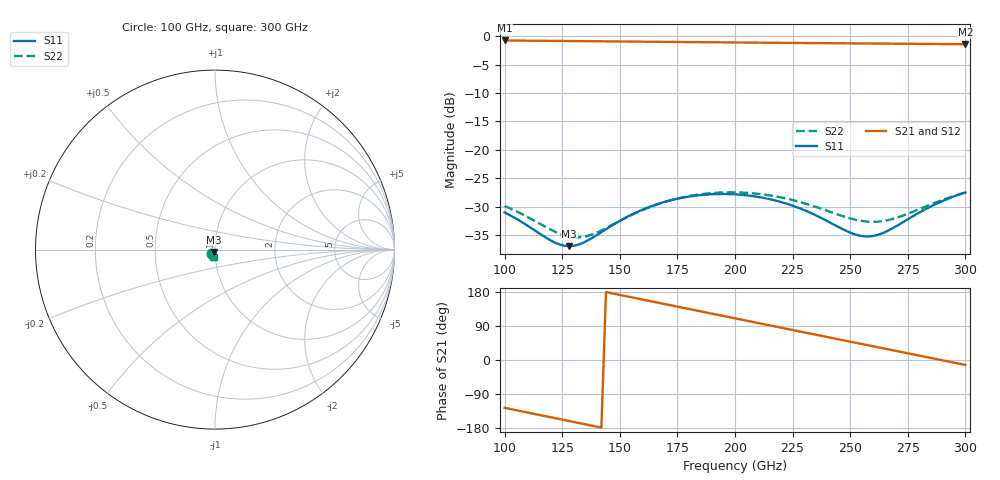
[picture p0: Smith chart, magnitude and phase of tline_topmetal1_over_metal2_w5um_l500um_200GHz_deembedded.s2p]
! Created with skrf 2.2.0 (http://scikit-rf.org).
# GHz S DB R 50.0
! Port[1] = P1
! Port[2] = P2
!freq dBS11 angS11 dBS21 angS21 dBS12 angS12 dBS22 angS22
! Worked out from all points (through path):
!   101 points, 100 GHz to 300 GHz, reference 50 ohm
!   highest |S21| = -0.76 dB at 100 GHz (marker M1); lowest = -1.4 dB at 300 GHz (marker M2)
!   group delay of S21, straight-line fit = 3.43 ps
!   lowest |S11| = -36.9 dB at 128 GHz (marker M3), VSWR 1.03, Z = 49.4 - j1.31 ohm
!   |S11| at or under -10 dB: start of sweep to end of sweep
!   |S22| runs from -35.4 to -27.5 dB; largest |S21 - S12| = 1.5e-14
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100  -30.98 -134.4  -0.76 -126.3  -0.76 -126.3  -29.85 -133.4
114  -34.38 -135.5  -0.81 -143.7  -0.81 -143.7  -32.68 -136.7
122  -36.31 -125.5  -0.84 -153.6  -0.84 -153.6  -34.39 -130.9
128  -36.91 -112.3  -0.86 -161.0  -0.86 -161.0  -35.24 -121.9
134  -36.33 -99.1  -0.88 -168.5  -0.88 -168.5  -35.29 -110.7
140  -34.96 -90.4  -0.90 -175.9  -0.90 -175.9  -34.53 -101.2
150  -32.46 -86.4  -0.94 171.7  -0.94 171.7  -32.47 -93.7
158  -30.82 -88.8  -0.97 161.8  -0.97 161.8  -30.89 -93.8
168  -29.31 -95.1  -1.00 149.5  -1.00 149.5  -29.33 -98.0
184  -27.98 -108.4  -1.06 129.7  -1.06 129.7  -27.85 -109.0
200  -27.81 -122.4  -1.11 110.0  -1.11 110.0  -27.46 -121.2
208  -28.13 -128.9  -1.14 100.1  -1.14 100.1  -27.63 -127.0
216  -28.74 -134.8  -1.17 90.3  -1.17 90.3  -28.05 -132.1
224  -29.66 -139.4  -1.19 80.4  -1.19 80.4  -28.71 -136.1
234  -31.29 -142.2  -1.22 68.1  -1.22 68.1  -29.87 -138.7
244  -33.35 -138.5  -1.25 55.8  -1.25 55.8  -31.26 -136.7
254  -35.06 -123.9  -1.28 43.5  -1.28 43.5  -32.41 -128.4
260  -35.12 -111.0  -1.30 36.1  -1.30 36.1  -32.64 -120.8
268  -33.85 -96.6  -1.33 26.3  -1.33 26.3  -32.17 -110.7
284  -30.14 -88.6  -1.37 6.6  -1.37 6.6  -29.74 -101.1
292  -28.64 -91.0  -1.40 -3.2  -1.40 -3.2  -28.51 -101.6
300  -27.48 -95.4  -1.42 -13.0  -1.42 -13.0  -27.48 -104.4
